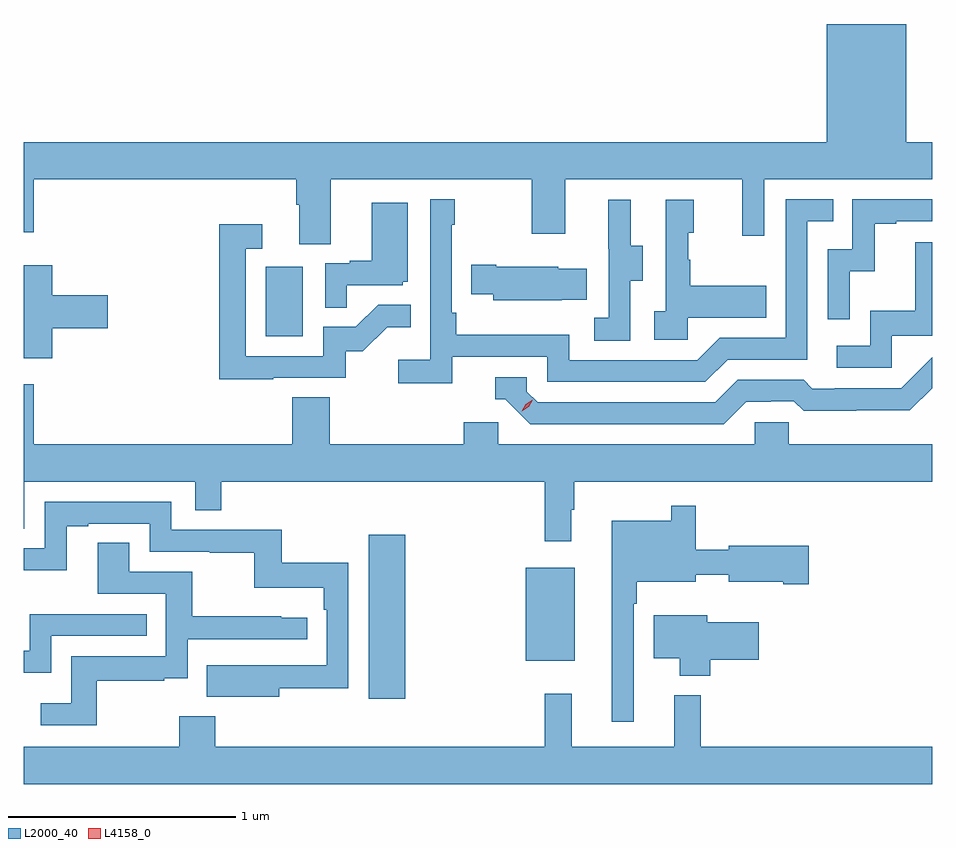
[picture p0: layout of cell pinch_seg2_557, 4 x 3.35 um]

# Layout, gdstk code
import gdstk
lib = gdstk.Library(unit=1e-6, precision=1e-09)
def R(c, l, rs):  # rectangles x0, y0, x1, y1
    for r in rs: c.add(gdstk.rectangle(r[:2], r[2:], *l))
def P(c, l, *ps):  # polygons
    for p in ps: c.add(gdstk.Polygon(p, *l))
L2000_40 = (2000, 40)
L4158_0 = (4158, 0)

pinch_seg2_557 = lib.new_cell('pinch_seg2_557')
R(pinch_seg2_557, L2000_40, [(1109.051,606.72,1109.212,607.441), (1109.744,606.887,1109.959,607.297), (1108.598,608.316,1108.762,608.623)])
P(pinch_seg2_557, L2000_40, [(1108.885,609.008),(1109.77,609.008),(1109.77,608.769),(1109.917,608.769),(1109.917,609.008),(1110.698,609.008),(1110.698,608.76),(1110.795,608.76),(1110.795,609.008),(1111.533,609.008),(1111.533,609.172),(1111.42,609.172),(1111.42,609.692),(1111.07,609.692),(1111.07,609.172),(1107.533,609.172),(1107.533,608.775),(1107.575,608.775),(1107.575,609.008),(1108.733,609.008),(1108.733,608.896),(1108.745,608.896),(1108.745,608.722),(1108.885,608.722)],
  [(1109.42,608.226),(1109.838,608.226),(1109.838,608.115),(1110.535,608.115),(1110.634,608.214),(1110.984,608.214),(1110.984,608.823),(1111.097,608.823),(1111.097,608.919),(1110.888,608.919),(1110.888,608.31),(1110.597,608.31),(1110.498,608.211),(1109.934,608.211),(1109.934,608.323),(1109.438,608.323),(1109.438,608.419),(1109.418,608.419),(1109.418,608.807),(1109.431,608.807),(1109.431,608.92),(1109.322,608.92),(1109.322,608.212),(1109.181,608.212),(1109.181,608.11),(1109.42,608.11)],
  [(1111.17,608.603),(1111.28,608.603),(1111.28,608.811),(1111.375,608.811),(1111.375,608.823),(1111.533,608.823),(1111.533,608.919),(1111.182,608.919),(1111.182,608.7),(1111.074,608.7),(1111.074,608.391),(1111.17,608.391)],
  [(1110.456,608.399),(1110.803,608.399),(1110.803,608.539),(1110.469,608.539),(1110.469,608.654),(1110.459,608.654),(1110.459,608.772),(1110.484,608.772),(1110.484,608.917),(1110.36,608.917),(1110.36,608.426),(1110.309,608.426),(1110.309,608.301),(1110.456,608.301)],
  [(1110.204,608.56),(1110.259,608.56),(1110.259,608.715),(1110.205,608.715),(1110.205,608.917),(1110.107,608.917),(1110.107,608.703),(1110.108,608.703),(1110.108,608.399),(1110.045,608.399),(1110.045,608.296),(1110.204,608.296)],
  [(1108.955,608.541),(1109.202,608.541),(1109.202,608.556),(1109.224,608.556),(1109.224,608.905),(1109.066,608.905),(1109.066,608.65),(1108.967,608.65),(1108.967,608.637),(1108.86,608.637),(1108.86,608.443),(1108.955,608.443)],
  [(1108.631,608.133),(1108.95,608.133),(1108.95,608.25),(1109.026,608.25),(1109.133,608.357),(1109.237,608.357),(1109.237,608.456),(1109.093,608.456),(1108.995,608.358),(1108.851,608.358),(1108.851,608.229),(1108.509,608.229),(1108.509,608.703),(1108.582,608.703),(1108.582,608.809),(1108.393,608.809),(1108.393,608.128),(1108.631,608.128)],
  [(1111.356,608.319),(1111.533,608.319),(1111.533,608.731),(1111.459,608.731),(1111.459,608.428),(1111.26,608.428),(1111.26,608.274),(1111.113,608.274),(1111.113,608.178),(1111.356,608.178)],
  [(1109.903,608.477),(1110.011,608.477),(1110.011,608.614),(1109.886,608.614),(1109.886,608.623),(1109.614,608.623),(1109.614,608.631),(1109.503,608.631),(1109.503,608.501),(1109.601,608.501),(1109.601,608.474),(1109.903,608.474)],
  [(1107.658,608.351),(1107.901,608.351),(1107.901,608.498),(1107.658,608.498),(1107.658,608.629),(1107.533,608.629),(1107.533,608.219),(1107.658,608.219)],
  [(1110.715,608.028),(1110.822,608.028),(1110.822,608.031),(1110.925,608.031),(1110.967,607.989),(1111.2,607.989),(1111.2,607.991),(1111.436,607.991),(1111.533,608.088),(1111.533,608.223),(1111.398,608.088),(1111.105,608.088),(1111.105,608.085),(1111.006,608.085),(1110.967,608.124),(1110.678,608.124),(1110.579,608.025),(1109.796,608.025),(1109.748,608.073),(1109.748,608.136),(1109.609,608.136),(1109.609,608.04),(1109.652,608.04),(1109.763,607.929),(1110.616,607.929)],
  [(1109.944,607.553),(1109.956,607.553),(1109.956,607.676),(1111.533,607.676),(1111.533,607.84),(1110.903,607.84),(1110.903,607.938),(1110.753,607.938),(1110.753,607.84),(1109.622,607.84),(1109.622,607.938),(1109.471,607.938),(1109.471,607.84),(1108.88,607.84),(1108.88,608.048),(1108.715,608.048),(1108.715,607.84),(1107.575,607.84),(1107.575,608.104),(1107.533,608.104),(1107.533,607.468),(1107.535,607.468),(1107.535,607.676),(1108.287,607.676),(1108.287,607.549),(1108.403,607.549),(1108.403,607.676),(1109.827,607.676),(1109.827,607.413),(1109.944,607.413)],
  [(1108.657,606.766),(1108.962,606.766),(1108.962,607.318),(1108.669,607.318),(1108.669,607.464),(1108.182,607.464),(1108.182,607.587),(1107.624,607.587),(1107.624,607.383),(1107.533,607.383),(1107.533,607.286),(1107.721,607.286),(1107.721,607.479),(1107.817,607.479),(1107.817,607.491),(1108.086,607.491),(1108.086,607.368),(1108.351,607.368),(1108.351,607.363),(1108.548,607.363),(1108.548,607.208),(1108.853,607.208),(1108.853,607.112),(1108.866,607.112),(1108.866,606.867),(1108.553,606.867),(1108.553,606.868),(1108.339,606.868),(1108.339,606.728),(1108.657,606.728)],
  [(1110.219,607.139),(1110.232,607.139),(1110.232,607.235),(1110.493,607.235),(1110.493,607.265),(1110.638,607.265),(1110.638,607.235),(1110.878,607.235),(1110.878,607.223),(1110.991,607.223),(1110.991,607.393),(1110.638,607.393),(1110.638,607.375),(1110.493,607.375),(1110.493,607.57),(1110.384,607.57),(1110.384,607.504),(1110.122,607.504),(1110.122,606.618),(1110.219,606.618)],
  [(1107.853,606.798),(1108.151,606.798),(1108.151,606.809),(1108.254,606.809),(1108.254,606.981),(1108.78,606.981),(1108.78,607.077),(1108.667,607.077),(1108.667,607.082),(1108.274,607.082),(1108.274,607.278),(1107.997,607.278),(1107.997,607.406),(1107.857,607.406),(1107.857,607.182),(1108.158,607.182),(1108.158,606.906),(1107.742,606.906),(1107.742,606.7),(1107.607,606.7),(1107.607,606.603),(1107.853,606.603)],
  [(1107.654,606.996),(1108.073,606.996),(1108.073,607.092),(1107.558,607.092),(1107.558,606.931),(1107.533,606.931),(1107.533,606.833),(1107.654,606.833)],
  [(1110.557,606.892),(1110.769,606.892),(1110.769,607.057),(1110.544,607.057),(1110.544,607.087),(1110.308,607.087),(1110.308,606.899),(1110.422,606.899),(1110.422,606.821),(1110.557,606.821)],
  [(1109.827,606.742),(1109.827,606.508),(1108.376,606.508),(1108.376,606.643),(1108.216,606.643),(1108.216,606.508),(1107.533,606.508),(1107.533,606.344),(1111.533,606.344),(1111.533,606.508),(1110.515,606.508),(1110.515,606.736),(1110.398,606.736),(1110.398,606.508),(1109.945,606.508),(1109.945,606.742)])
P(pinch_seg2_557, L4158_0, [(1109.726,607.986),(1109.726,607.986),(1109.743,608.018),(1109.774,608.037),(1109.774,608.037),(1109.774,608.037),(1109.757,608.005),(1109.726,607.986)])

lib.write_gds('pinch_seg2_557.gds')
